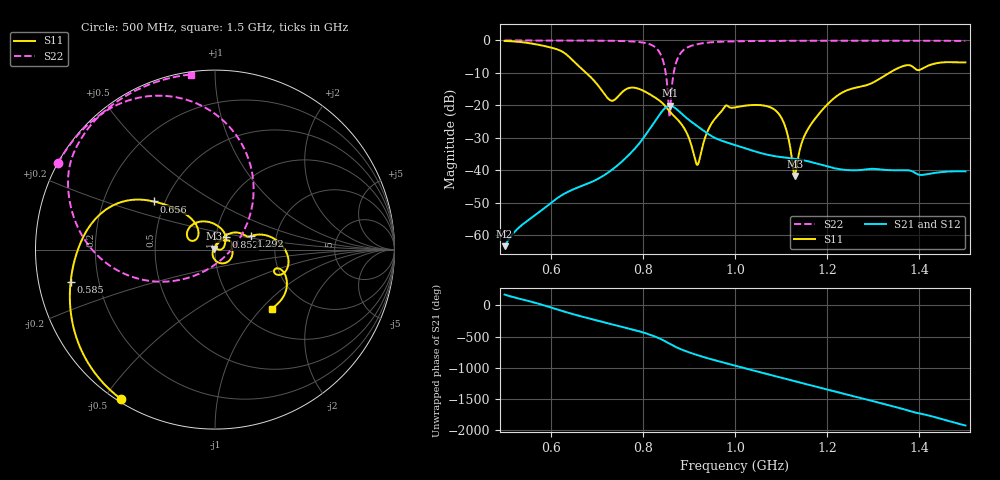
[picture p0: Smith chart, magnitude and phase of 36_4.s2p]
! TOUCHSTONE file generated by CST MICROWAVE STUDIO
! Date and time: Wed Oct 28 19:20:24 2020
! Project name: Scenario_1_Circular_Tissue_out_of_Line.cst
! Parameters = {dy1=260.935; L_HA=400; MT=2.54; Rad_Dielectric=30; Rad_Lower=7.3; Rad_Upper=30; a_HA=580; a_WG=246; b_HA=500; b_WG=121; c_HA=0; c_WG=187; d_feed=85; dx1=693; h_feed=15; h_lower=18; h_upper=40}
! Header version: 2018
! Port assignment regex: !\s*Touchstone port\s*([0-9]+)\s*=\s*(CST MWS port|CST DS port)\s*([0-9]+|Zmin|Zmax)\s*\(\"(.*)\"\)(\s*mode\s*([0-9]+))?.*
! Touchstone port assignment:
! Touchstone port 1 = CST MWS port 1 ("")
! Touchstone port 2 = CST MWS port 2 ("")
# GHz S DB R 50
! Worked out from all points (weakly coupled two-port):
!   1001 points, 500 MHz to 1.5 GHz, reference 50 ohm
!   highest |S21| = -20.11 dB at 859 MHz (marker M1); lowest = -63.3 dB at 500 MHz (marker M2)
!   lowest |S11| = -41.7 dB at 1.13 GHz (marker M3), VSWR 1.02, Z = 49.3 + j0.429 ohm
!   |S11| at or under -10 dB: 677.4 MHz to 1.334 GHz (656.9 MHz wide, 65.3 % of centre)
!   |S22| runs from -23.7 to 0.0 dB; largest |S21 - S12| = 0.00012
!   S11 on the Smith chart (normalised r, x): 500 MHz: 0.01, -0.55; 585 MHz: 0.10, -0.11; 656 MHz: 0.43, +0.29; 852 MHz: 1.11, +0.16; 1.292 GHz: 1.48, +0.23; 1.5 GHz: 1.38, -1.15
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0.5  -0.15 -122.3  -63.29 175.9  -63.45 175.6  -0.01 151.1
0.585  -1.68 -167.3  -51.72 2.7  -51.70 2.8  -0.02 145.2
0.656  -7.24 141.9  -45.40 -155.0  -45.40 -154.9  -0.04 139.4
0.667  -8.67 137.6  -44.80 -177.0  -44.79 -177.0  -0.04 138.4
0.73  -18.46 142.9  -40.11 64.0  -40.12 64.0  -0.11 130.9
0.794  -15.03 118.8  -31.37 -59.5  -31.36 -59.5  -0.52 115.5
0.834  -18.29 73.7  -23.30 -163.9  -23.30 -163.9  -3.16 83.9
0.852  -20.77 50.1  -20.39 129.2  -20.39 129.2  -12.61 39.5
0.859  -21.98 42.9  -20.11 100.2  -20.12 100.2  -22.50 -79.5
0.877  -24.59 24.4  -21.61 33.1  -21.60 33.1  -5.08 -168.2
0.918  -38.27 35.0  -26.35 -77.5  -26.35 -77.4  -1.17 158.9
0.952  -24.95 58.5  -29.65 -152.2  -29.66 -152.2  -0.53 148.7
1  -20.61 4.6  -32.18 112.1  -32.18 112.1  -0.28 140.3
1.091  -21.92 -69.7  -35.70 -64.3  -35.70 -64.3  -0.13 130.5
1.11  -26.94 -101.5  -36.06 -101.0  -36.06 -101.0  -0.12 128.9
1.13  -41.68 148.1  -36.42 -139.5  -36.43 -139.4  -0.11 127.2
1.147  -30.63 69.8  -36.82 -171.8  -36.84 -171.7  -0.10 125.8
1.167  -25.39 59.7  -37.47 150.4  -37.48 150.5  -0.10 124.2
1.225  -16.70 40.7  -39.55 42.1  -39.52 42.0  -0.09 119.7
1.292  -13.43 20.7  -39.55 -82.8  -39.54 -82.7  -0.09 114.7
1.334  -10.02 13.2  -39.89 -165.5  -39.89 -165.5  -0.09 111.5
1.5  -6.77 -45.8  -40.27 -129.8  -40.27 -129.9  -0.13 97.9
